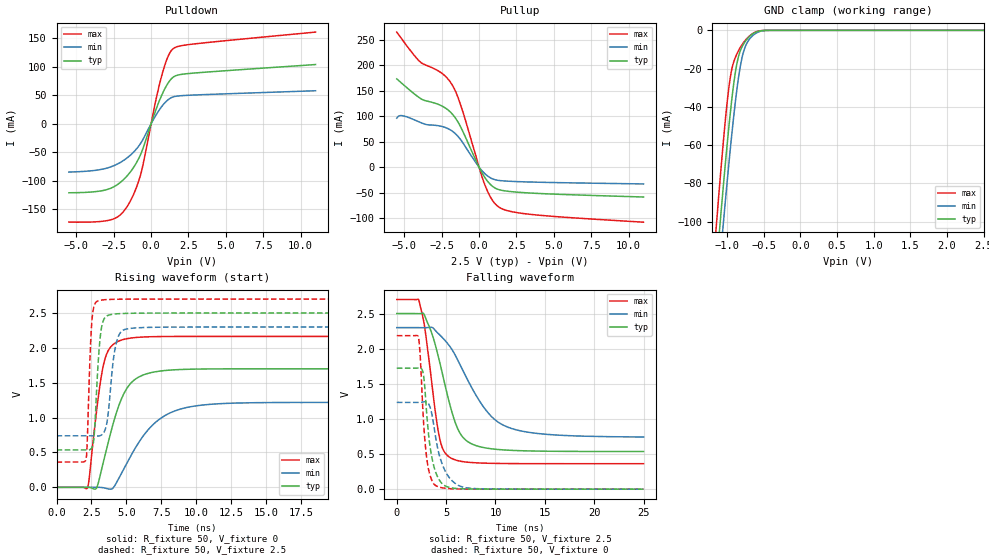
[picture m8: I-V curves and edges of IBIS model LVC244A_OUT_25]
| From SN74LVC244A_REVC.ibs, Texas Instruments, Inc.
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[Model]   LVC244A_OUT_25
Model_type  3-state
Enable   Active-Low
Vref =   0
Rref =   500
Cref =   30p
Vmeas =   1.25
| variable   typ   min   max
C_comp   3.84pF   3.46pF   4.32pF
| C_pullup   7.98pF   4.06pF   11.86pF
| C_pulldown   7.28pF   3.69pF   13.52pF
| C_tri-state   3.84pF   3.46pF   4.32pF
[Temperature Range]   40   100   -40
| Ambient temperature   25   85   -40
[Voltage range]   2.5   2.3   2.7
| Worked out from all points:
|   slope of the pulldown table from 0 to 0.375 V, typ, clamps not added: 13.2 ohm
|   slope of the pullup table from 0 to 0.375 V, typ, clamps not added: 18.9 ohm
|   GND clamp passes 1 mA (typ) near -0.61 V on its own axis
|   rising waveform, R_fixture 50, V_fixture 0: 20-80 % time 1.54ns typ, 2.6ns min, 838ps max; typ from 0 V to 1.7 V
|   falling waveform, R_fixture 50, V_fixture 2.5: 20-80 % time 2.18ns typ, 3.87ns min, 1.3ns max; typ from 2.5 V to 0.536 V
|   rising waveform, R_fixture 50, V_fixture 2.5: 20-80 % time 350ps typ, 497ps min, 252ps max; typ from 0.536 V to 2.5 V
|   falling waveform, R_fixture 50, V_fixture 0: 20-80 % time 846ps typ, 1.29ns min, 607ps max; typ from 1.72 V to 0 V
[GND Clamp]
| LVC244A_OUT_25
|   Voltage   I(typ)   I(min)   I(max)
-5.5V     -2.404A    -2.35A     -2.478A
-1.15V    -126.2mA   -144.8mA   -104.1mA
-1.09V    -98.87mA   -118.1mA   -75.86mA
-1.06V    -85.62mA   -105.1mA   -62.44mA
-1.045V   -79.13mA   -98.68mA   -55.99mA
-960mV    -44.92mA   -63.9mA    -25.79mA
-920mV    -31.3mA    -48.92mA   -17.97mA
-865mV    -17.32mA   -30.75mA   -12.31mA
-810mV    -9.84mA    -17mA      -8.374mA
-765mV    -6.571mA   -9.993mA   -5.882mA
-625mV    -1.251mA   -2.008mA   -1.13mA
2.5V      74.72pA    76.12nA    31.37pA
[Pulldown]
| LVC244A_OUT_25
|   Voltage   I(typ)   I(min)   I(max)
-5.5V     -120.8mA   -84.53mA   -172.2mA
-2.655V   -112.4mA   -75.06mA   -167.9mA
-2.055V   -102.6mA   -67.62mA   -159.4mA
-1.53V    -88.95mA   -58.14mA   -141.9mA
-1.055V   -71.56mA   -46.3mA    -116.4mA
-665mV    -51.45mA   -32.76mA   -85.52mA
310mV     23.77mA    14.55mA    40.43mA
785mV     54.37mA    32.73mA    91.27mA
1.15V     71.94mA    42.44mA    119mA
1.48V     81.76mA    47.14mA    131.7mA
2.83V     88.84mA    50.4mA     139.8mA
11V       103.8mA    57.91mA    160.7mA
[Pullup]
| LVC244A_OUT_25
|   Voltage   I(typ)   I(min)   I(max)
-5.5V     172.9mA    95.88mA    264.6mA
-5.1V     162.6mA    100.6mA    248.4mA
-3.985V   135.9mA    88.29mA    207.6mA
-2.495V   119.9mA    79.74mA    184.1mA
-1.76V    103mA      69.84mA    159.4mA
-1.145V   73.77mA    50.38mA    114.2mA
360mV     -19.12mA   -12.06mA   -32.41mA
805mV     -35.2mA    -21.67mA   -60.74mA
1.26V     -43.52mA   -25.91mA   -76.93mA
1.985V    -47.56mA   -27.67mA   -86.02mA
3.38V     -50.77mA   -29.2mA    -92.47mA
11V       -58.61mA   -33mA      -108mA
[Ramp]
| LVC244A_OUT_25
| variable   typ   min   max
dV/dt_r   1.04/1.55E-09   0.75/2.61E-09   1.31/8.44E-10
dV/dt_f   1.18/2.19E-09   0.94/3.88E-09   1.41/1.30E-09
R_load = 50
[Rising Waveform]
| LVC244A_OUT_25
R_fixture =   50
C_fixture =   0
L_fixture =   0
V_fixture =   0
V_fixture_min = 0
V_fixture_max = 0
|   Time   V(typ)   V(min)   V(max)
0s        336.2pV    3.631nV    125.9pV
2.22ns    1.218mV    117.1uV    -9.374mV
2.85ns    -17.54mV   1.276mV    1.063V
3.34ns    349.7mV    -5.319mV   1.734V
3.755ns   684.6mV    -24.55mV   1.978V
4.46ns    1.17V      127.8mV    2.098V
5.85ns    1.577V     630.8mV    2.151V
7.265ns   1.663V     960.4mV    2.162V
9.01ns    1.69V      1.13V      2.164V
24.99ns   1.7V       1.219V     2.164V
[Falling Waveform]
| LVC244A_OUT_25
R_fixture =   50
C_fixture =   0
L_fixture =   0
V_fixture =   2.5
V_fixture_min = 2.3
V_fixture_max = 2.7
|   Time   V(typ)   V(min)   V(max)
0s        2.5V       2.3V       2.7V
2.235ns   2.498V     2.3V       2.69V
2.84ns    2.465V     2.298V     2.294V
4.27ns    1.853V     2.207V     774.7mV
5.34ns    1.223V     2.039V     455.8mV
6.15ns    868.7mV    1.845V     407.5mV
6.98ns    699.5mV    1.61V      386.8mV
9.045ns   585.8mV    1.123V     369.7mV
10.91ns   558.1mV    903.1mV    365.3mV
24.99ns   536.1mV    742.6mV    362.5mV
[Rising Waveform]
| LVC244A_OUT_25
R_fixture =   50
C_fixture =   0
L_fixture =   0
V_fixture =   2.5
V_fixture_min = 2.3
V_fixture_max = 2.7
|   Time   V(typ)   V(min)   V(max)
0s        535.9mV    739mV      362.5mV
2.095ns   535.9mV    739.1mV    393.5mV
2.185ns   535.5mV    739.1mV    582.2mV
2.52ns    564.4mV    738.7mV    2.35V
2.705ns   766.8mV    737.7mV    2.609V
2.96ns    1.717V     736.2mV    2.672V
3.395ns   2.412V     789.2mV    2.689V
4.205ns   2.486V     2.001V     2.697V
4.825ns   2.494V     2.26V      2.699V
24.99ns   2.5V       2.3V       2.7V
[Falling Waveform]
| LVC244A_OUT_25
R_fixture =   50
C_fixture =   0
L_fixture =   0
V_fixture =   0
V_fixture_min = 0
V_fixture_max = 0
|   Time   V(typ)   V(min)   V(max)
0s        1.722V     1.235V     2.185V
2.185ns   1.725V     1.235V     2.165V
2.375ns   1.728V     1.236V     1.892V
2.675ns   1.65V      1.241V     1.046V
3.01ns    1.119V     1.243V     470.3mV
3.395ns   584.4mV    1.156V     187.2mV
3.965ns   231.3mV    715.8mV    49.67mV
5.03ns    38.36mV    225.5mV    11.09mV
6.775ns   4.932mV    27.39mV    1.441mV
24.99ns   47.49uV    121.1uV    19.4uV
